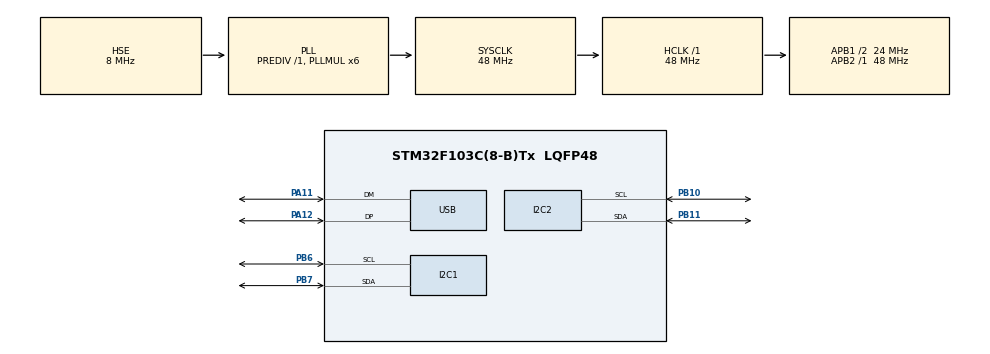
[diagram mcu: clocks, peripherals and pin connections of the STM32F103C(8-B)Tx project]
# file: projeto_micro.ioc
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Mcu.Family=STM32F1
Mcu.Name=STM32F103C(8-B)Tx
Mcu.Package=LQFP48
NVIC.PriorityGroup=NVIC_PRIORITYGROUP_4
NVIC.USB_LP_CAN1_RX0_IRQn=true\:0\:0\:false\:false\:true\:false
PA11.Mode=Device
PA11.Signal=USB_DM
PA12.Mode=Device
PA12.Signal=USB_DP
PA13.Mode=Serial_Wire
PA13.Signal=SYS_JTMS-SWDIO
PA14.Mode=Serial_Wire
PA14.Signal=SYS_JTCK-SWCLK
PB10.Mode=I2C
PB10.Signal=I2C2_SCL
PB11.Mode=I2C
PB11.Signal=I2C2_SDA
PB6.Mode=I2C
PB6.Signal=I2C1_SCL
PB7.Mode=I2C
PB7.Signal=I2C1_SDA
PD0-OSC_IN.Mode=HSE-External-Oscillator
PD0-OSC_IN.Signal=RCC_OSC_IN
PD1-OSC_OUT.Mode=HSE-External-Oscillator
PD1-OSC_OUT.Signal=RCC_OSC_OUT
ProjectManager.HeapSize=0x200
ProjectManager.StackSize=0x400
ProjectManager.TargetToolchain=TrueSTUDIO
RCC.AHBFreq_Value=48000000
RCC.APB1CLKDivider=RCC_HCLK_DIV2
RCC.APB1Freq_Value=24000000
RCC.APB1TimFreq_Value=48000000
RCC.APB2Freq_Value=48000000
RCC.APB2TimFreq_Value=48000000
RCC.HCLKFreq_Value=48000000
RCC.PLLMUL=RCC_PLL_MUL6
RCC.SYSCLKFreq_VALUE=48000000
RCC.SYSCLKSource=RCC_SYSCLKSOURCE_PLLCLK
RCC.USBFreq_Value=48000000
USB_DEVICE.CLASS_NAME_FS=HID
USB_DEVICE.VirtualMode=Hid
USB_DEVICE.VirtualModeFS=Hid_FS
VP_USB_DEVICE_VS_USB_DEVICE_HID_FS.Mode=HID_FS
board=projeto_micro

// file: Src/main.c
/**
  ******************************************************************************
  * File Name          : main.c
  * Description        : Main program body
  ******************************************************************************
  * This notice applies to any and all portions of this file
  * that are not between comment pairs USER CODE BEGIN and
  * USER CODE END. Other portions of this file, whether
  * inserted by the user or by software development tools
  * are owned by their respective copyright owners.
  *
  * Copyright (c) 2017 STMicroelectronics International N.V.
  * All rights reserved.
  *
  * Redistribution and use in source and binary forms, with or without
  * modification, are permitted, provided that the following conditions are met:
  *
  * 1. Redistribution of source code must retain the above copyright notice,
  *    this list of conditions and the following disclaimer.
  * 2. Redistributions in binary form must reproduce the above copyright notice,
  *    this list of conditions and the following disclaimer in the documentation
  *    and/or other materials provided with the distribution.
  * 3. Neither the name of STMicroelectronics nor the names of other
  *    contributors to this software may be used to endorse or promote products
  *    derived from this software without specific written permission.
  * 4. This software, including modifications and/or derivative works of this
  *    software, must execute solely and exclusively on microcontroller or
  *    microprocessor devices manufactured by or for STMicroelectronics.
  * 5. Redistribution and use of this software other than as permitted under
  *    this license is void and will automatically terminate your rights under
  *    this license.
  *
  * THIS SOFTWARE IS PROVIDED BY STMICROELECTRONICS AND CONTRIBUTORS "AS IS"
  * AND ANY EXPRESS, IMPLIED OR STATUTORY WARRANTIES, INCLUDING, BUT NOT
  * LIMITED TO, THE IMPLIED WARRANTIES OF MERCHANTABILITY, FITNESS FOR A
  * PARTICULAR PURPOSE AND NON-INFRINGEMENT OF THIRD PARTY INTELLECTUAL PROPERTY
  * RIGHTS ARE DISCLAIMED TO THE FULLEST EXTENT PERMITTED BY LAW. IN NO EVENT
  * SHALL STMICROELECTRONICS OR CONTRIBUTORS BE LIABLE FOR ANY DIRECT, INDIRECT,
  * INCIDENTAL, SPECIAL, EXEMPLARY, OR CONSEQUENTIAL DAMAGES (INCLUDING, BUT NOT
  * LIMITED TO, PROCUREMENT OF SUBSTITUTE GOODS OR SERVICES; LOSS OF USE, DATA,
  * OR PROFITS; OR BUSINESS INTERRUPTION) HOWEVER CAUSED AND ON ANY THEORY OF
  * LIABILITY, WHETHER IN CONTRACT, STRICT LIABILITY, OR TORT (INCLUDING
  * NEGLIGENCE OR OTHERWISE) ARISING IN ANY WAY OUT OF THE USE OF THIS SOFTWARE,
  * EVEN IF ADVISED OF THE POSSIBILITY OF SUCH DAMAGE.
  *
  ******************************************************************************
  */

#include "main.h"
#include "stm32f1xx_hal.h"
#include "i2c.h"
#include "usb_device.h"
#include "gpio.h"

/* USER CODE BEGIN Includes */
#include "sd_hal_mpu6050.h"
#include "stm32f1xx.h"
#include "stm32f1xx_hal.h"
/* USER CODE END Includes */

/* USER CODE BEGIN PV */
/* Private variables ---------------------------------------------------------*/

SD_MPU6050 mpu1;
SD_MPU6050 mpu2;
/* USER CODE END PV */

void SystemClock_Config(void);

/* USER CODE BEGIN PFP */
/* Private function prototypes -----------------------------------------------*/

/* USER CODE END PFP */

int main(void)
{

  /* USER CODE BEGIN 1 */
	SD_MPU6050_Result result, result2;
	uint8_t mpu_ok[15] = {"MPU WORK FINE\n"};
	uint8_t mpu_not[17] = {"MPU NOT WORKING\n"};

	//	HID MOUSE
		struct mouseHID_t {
		      uint8_t buttons;
		      int8_t x;
		      int8_t y;
		      int8_t wheel;
		  };
		  struct mouseHID_t mouseHID;
		  mouseHID.buttons = 0;
		  mouseHID.x = 10;
		  mouseHID.y = 0;
		  mouseHID.wheel = 0;

  /* USER CODE END 1 */

  /* MCU Configuration----------------------------------------------------------*/

  /* Reset of all peripherals, Initializes the Flash interface and the Systick. */
  HAL_Init();

  /* Configure the system clock */
  SystemClock_Config();

  /* Initialize all configured peripherals */
  MX_GPIO_Init();
  MX_I2C1_Init();
  MX_USB_DEVICE_Init();
  MX_I2C2_Init();

  /* USER CODE BEGIN 2 */
  int16_t aux = 0;
  int16_t auy = 0;

//  int16_t g_x = 0;
//  int16_t g_y = 0;

  /* USER CODE END 2 */

  /* Infinite loop */
  /* USER CODE BEGIN WHILE */
  while (1)
  {
	  result = SD_MPU6050_Init(&hi2c1,&mpu1,SD_MPU6050_Device_0,SD_MPU6050_Accelerometer_2G,SD_MPU6050_Gyroscope_250s );
	  result2 = SD_MPU6050_Init(&hi2c2,&mpu2,SD_MPU6050_Device_0,SD_MPU6050_Accelerometer_2G,SD_MPU6050_Gyroscope_250s );

	  HAL_Delay(25);
  /* USER CODE END WHILE */

  /* USER CODE BEGIN 3 */

//	  Reading Mouse Position
	  SD_MPU6050_ReadGyroscope(&hi2c1, &mpu1);

	  int16_t g_x = mpu1.Gyroscope_X;
	  int16_t g_y = mpu1.Gyroscope_Y;
	  int16_t g_z = mpu1.Gyroscope_Z;

//	  Coordenada Y
	  if((g_x - aux) > 300 && -(g_x - aux) < -300){
		  mouseHID.y = (g_x)/150;
	  } else {
		  if(g_x < 0 && (g_x - aux) < -300){
	  		  mouseHID.y = (g_x)/150;
	  	  } else {
	  		  mouseHID.y = 0;
	  	  }
	  }

//	  Coordenada X
	  if((g_y - auy) > 300 && -(g_y - auy) < -300){
		  mouseHID.x = (g_y)/150;
	  } else {
		  if(g_y < 0 && (g_y - auy) < -300){
			  mouseHID.x = (g_y)/150;
		  } else {
			  mouseHID.x = 0;
		  }
	  }

//	  Reading Button Accelerometer
	  SD_MPU6050_ReadAccelerometer(&hi2c2, &mpu2);
	  int16_t a_x = mpu2.Accelerometer_X;

//	  Button Clicked
	  if(a_x < -4500){
	  	  mouseHID.buttons = 1;
	  	  mouseHID.x = 0;
	  	  mouseHID.y = 0;
		  USBD_HID_SendReport(&hUsbDeviceFS, &mouseHID, sizeof(struct mouseHID_t));
	  }
	  HAL_Delay(25);

//	  Button Released
	  if(a_x > -4500)
	  {
		  mouseHID.buttons = 0;
	  }
	  USBD_HID_SendReport(&hUsbDeviceFS, &mouseHID, sizeof(struct mouseHID_t));
	  HAL_Delay(5);
  }
  /* USER CODE END 3 */

}

/** System Clock Configuration
*/
void SystemClock_Config(void)
{

  RCC_OscInitTypeDef RCC_OscInitStruct;
  RCC_ClkInitTypeDef RCC_ClkInitStruct;
  RCC_PeriphCLKInitTypeDef PeriphClkInit;

    /**Initializes the CPU, AHB and APB busses clocks
    */
  RCC_OscInitStruct.OscillatorType = RCC_OSCILLATORTYPE_HSE;
  RCC_OscInitStruct.HSEState = RCC_HSE_ON;
  RCC_OscInitStruct.HSEPredivValue = RCC_HSE_PREDIV_DIV1;
  RCC_OscInitStruct.HSIState = RCC_HSI_ON;
  RCC_OscInitStruct.PLL.PLLState = RCC_PLL_ON;
  RCC_OscInitStruct.PLL.PLLSource = RCC_PLLSOURCE_HSE;
  RCC_OscInitStruct.PLL.PLLMUL = RCC_PLL_MUL6;
  if (HAL_RCC_OscConfig(&RCC_OscInitStruct) != HAL_OK)
  {
    _Error_Handler(__FILE__, __LINE__);
  }

    /**Initializes the CPU, AHB and APB busses clocks
    */
  RCC_ClkInitStruct.ClockType = RCC_CLOCKTYPE_HCLK|RCC_CLOCKTYPE_SYSCLK
                              |RCC_CLOCKTYPE_PCLK1|RCC_CLOCKTYPE_PCLK2;
  RCC_ClkInitStruct.SYSCLKSource = RCC_SYSCLKSOURCE_PLLCLK;
  RCC_ClkInitStruct.AHBCLKDivider = RCC_SYSCLK_DIV1;
  RCC_ClkInitStruct.APB1CLKDivider = RCC_HCLK_DIV2;
  RCC_ClkInitStruct.APB2CLKDivider = RCC_HCLK_DIV1;

  if (HAL_RCC_ClockConfig(&RCC_ClkInitStruct, FLASH_LATENCY_1) != HAL_OK)
  {
    _Error_Handler(__FILE__, __LINE__);
  }

  PeriphClkInit.PeriphClockSelection = RCC_PERIPHCLK_USB;
  PeriphClkInit.UsbClockSelection = RCC_USBCLKSOURCE_PLL;
  if (HAL_RCCEx_PeriphCLKConfig(&PeriphClkInit) != HAL_OK)
  {
    _Error_Handler(__FILE__, __LINE__);
  }

  HAL_RCC_MCOConfig(RCC_MCO, RCC_MCO1SOURCE_SYSCLK, RCC_MCODIV_1);

    /**Configure the Systick interrupt time
    */
  HAL_SYSTICK_Config(HAL_RCC_GetHCLKFreq()/1000);

    /**Configure the Systick
    */
  HAL_SYSTICK_CLKSourceConfig(SYSTICK_CLKSOURCE_HCLK);

  /* SysTick_IRQn interrupt configuration */
  HAL_NVIC_SetPriority(SysTick_IRQn, 0, 0);
}

void _Error_Handler(char * file, int line)
{
  while(1)
  {
  }
}

/************************ (C) COPYRIGHT STMicroelectronics *****END OF FILE****/
